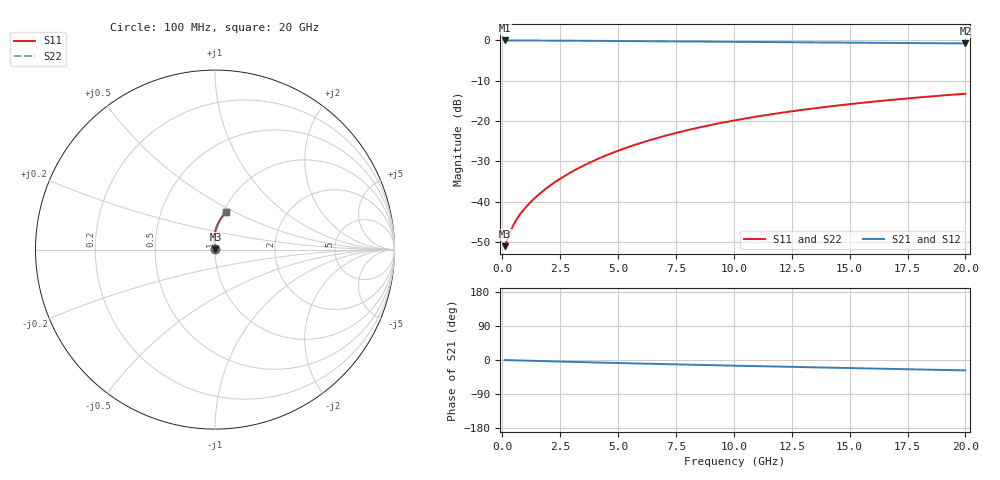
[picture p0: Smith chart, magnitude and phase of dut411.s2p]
! Touchstone file exported from HFSS 2024.1.0
!  File:  C:/UserFiles/LocalFiles/RDL_TSV_Batchsim/temp_RDL_top_411_1779675563.aedt
!  Generated:  10:21:44 AM May 25, 2026
!  Design:  RDL_top
!  Project:  temp_RDL_top_411_1779675563
!  Setup:  Setup1
!  Solution:  Sweep
! Variables:
!  dtsv = 10.80580581um
!  hbump = 3um
!  htsv = 54.6um
!  ldown = 100um
!  lrdl = 411.19um
!  p = 40
!  p1 = 45.44um
!  rhole = 1um
!  t = 450um
!  tdown = 3.915915916um
!  trdl = 2.25um
!  wdown = 15.38538539um
!  wrdl = 28.72um
# GHz S MA R 50.000000
! Terminal data exported
! Port[1] = Box2_T1
! Port[2] = Box2_T2
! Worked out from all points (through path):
!   200 points, 100 MHz to 20 GHz, reference 50 ohm
!   highest |S21| = -0.02 dB at 100 MHz (marker M1); lowest = -0.8 dB at 20 GHz (marker M2)
!   group delay of S21, straight-line fit = 3.75 ps
!   lowest |S11| = -51.0 dB at 100 MHz (marker M3), VSWR 1.01, Z = 50.3 + j0.0956 ohm
!   |S11| at or under -10 dB: start of sweep to end of sweep
!   |S22| runs from -51.0 to -13.2 dB; largest |S21 - S12| = 3.6e-15
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0.1  0.002822 19.7  0.9973 -0.2  0.9973 -0.2  0.002822 19.7
! Gamma 0 0 0 0
! Port Impedance 50 0 50 0
0.3  0.003962 43.3  0.997 -0.5  0.997 -0.5  0.003962 43.3
0.4  0.004629 49.4  0.9968 -0.7  0.9968 -0.7  0.004629 49.4
0.5  0.005288 53.9  0.9966 -0.9  0.9966 -0.9  0.005287 53.9
0.6  0.005932 57.4  0.9964 -1.0  0.9964 -1.0  0.005932 57.4
0.7  0.006567 60.3  0.9962 -1.2  0.9962 -1.2  0.006567 60.3
0.9  0.007831 65.3  0.9958 -1.5  0.9958 -1.5  0.007831 65.3
1.2  0.00977 71.1  0.9953 -2.0  0.9953 -2.0  0.00977 71.1
1.7  0.01321 78.1  0.9942 -2.8  0.9942 -2.8  0.01321 78.1
2.2  0.01695 82.9  0.9928 -3.7  0.9928 -3.7  0.01695 82.9
2.8  0.02181 86.9  0.991 -4.6  0.991 -4.6  0.02181 86.9
3.5  0.02799 89.9  0.9884 -5.7  0.9884 -5.7  0.02799 89.9
4.2  0.03469 91.8  0.9855 -6.8  0.9855 -6.8  0.03469 91.8
5  0.0429 92.9  0.9819 -8.0  0.9819 -8.0  0.0429 92.9
5.9  0.05273 93.2  0.9777 -9.3  0.9777 -9.3  0.05273 93.2
6.8  0.06303 92.9  0.9734 -10.6  0.9734 -10.6  0.06304 92.9
8.4  0.08211 91.4  0.9657 -12.8  0.9657 -12.8  0.08211 91.4
10.1  0.1029 89.0  0.9578 -15.1  0.9578 -15.1  0.1029 89.0
11.7  0.1225 86.5  0.9507 -17.1  0.9507 -17.1  0.1225 86.5
13.4  0.1431 83.7  0.9434 -19.3  0.9434 -19.3  0.1431 83.7
16.7  0.1818 78.3  0.9297 -23.4  0.9297 -23.4  0.1818 78.3
20  0.2184 73.2  0.9164 -27.4  0.9164 -27.4  0.2184 73.2
